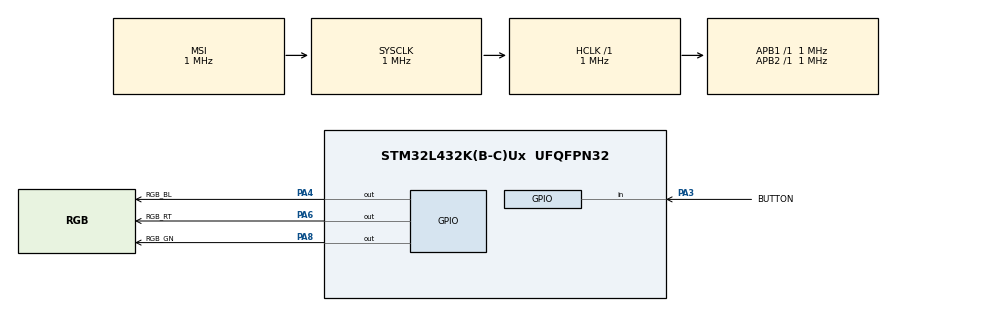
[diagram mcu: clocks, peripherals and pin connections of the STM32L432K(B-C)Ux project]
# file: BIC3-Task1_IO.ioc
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Mcu.Family=STM32L4
Mcu.Name=STM32L432K(B-C)Ux
Mcu.Package=UFQFPN32
NVIC.PriorityGroup=NVIC_PRIORITYGROUP_4
PA3.GPIO_Label=BUTTON
PA3.Signal=GPIO_Input
PA4.GPIO_Label=RGB_BL
PA4.Signal=GPIO_Output
PA6.GPIO_Label=RGB_RT
PA6.Signal=GPIO_Output
PA8.GPIO_Label=RGB_GN
PA8.Signal=GPIO_Output
ProjectManager.HeapSize=0x200
ProjectManager.StackSize=0x400
ProjectManager.TargetToolchain=STM32CubeIDE
RCC.ADCFreq_Value=4000000
RCC.AHBFreq_Value=1000000
RCC.APB1Freq_Value=1000000
RCC.APB1TimFreq_Value=1000000
RCC.APB2Freq_Value=1000000
RCC.APB2TimFreq_Value=1000000
RCC.CortexFreq_Value=1000000
RCC.HCLKFreq_Value=1000000
RCC.HSE_VALUE=8000000
RCC.HSI48_VALUE=48000000
RCC.HSI_VALUE=16000000
RCC.LSE_VALUE=32768
RCC.MSIClockRange=RCC_MSIRANGE_4
RCC.MSI_VALUE=1000000
RCC.SYSCLKFreq_VALUE=1000000
RCC.USBFreq_Value=4000000
RCC.VCOOutputFreq_Value=8000000
board=custom

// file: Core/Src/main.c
/* USER CODE BEGIN Header */
/**
  ******************************************************************************
  * @file           : main.c
  * @brief          : Main program body
  ******************************************************************************
  * @attention
  *
  * <h2><center>&copy; Copyright (c) 2021 STMicroelectronics.
  * All rights reserved.</center></h2>
  *
  * This software component is licensed by ST under BSD 3-Clause license,
  * the "License"; You may not use this file except in compliance with the
  * License. You may obtain a copy of the License at:
  *                        opensource.org/licenses/BSD-3-Clause
  *
  ******************************************************************************
  */
/* USER CODE END Header */
#include "main.h"

void SystemClock_Config(void);
static void MX_GPIO_Init(void);
/* USER CODE BEGIN PFP */
void Set_States(uint8_t * blinky_on, uint8_t * brightness_set, uint8_t * brightness_value, int8_t btn_state, uint8_t brightness_steps);
int8_t Button_Check (GPIO_TypeDef* GPIOx, uint16_t GPIO_Pin, uint16_t boarder_press_time_short_long);
void Blinky(uint16_t on_time, uint16_t off_time, GPIO_TypeDef* GPIO_TypeDef_LED, uint16_t GPIO_Pin_LED, GPIO_TypeDef* GPIO_TypeDef_BUTTON, uint16_t GPIO_Pin_BUTTON, uint8_t brightness_steps);
/* USER CODE END PFP */

int main(void)
{

  /* MCU Configuration--------------------------------------------------------*/

  /* Reset of all peripherals, Initializes the Flash interface and the Systick. */
  HAL_Init();

  /* Configure the system clock */
  SystemClock_Config();

  /* Initialize all configured peripherals */
  MX_GPIO_Init();
  /* USER CODE BEGIN 2 */
  HAL_GPIO_WritePin(RGB_BL_GPIO_Port, RGB_BL_Pin, GPIO_PIN_SET);
  HAL_GPIO_WritePin(RGB_RT_GPIO_Port, RGB_RT_Pin, GPIO_PIN_SET);
  HAL_GPIO_WritePin(RGB_GN_GPIO_Port, RGB_GN_Pin, GPIO_PIN_SET);
  /* USER CODE END 2 */

  /* Infinite loop */
  /* USER CODE BEGIN WHILE */
  while (1)
  {
	// Aufruf Blinky -> mit Blinkintervall (on,off), Input- und Output Pins, sowie die Anzahl der Helligkeitsstufen
	Blinky( 400, 200, RGB_BL_GPIO_Port, RGB_BL_Pin,BUTTON_GPIO_Port, BUTTON_Pin, 3);

    /* USER CODE END WHILE */

  }
}

void SystemClock_Config(void)
{
  RCC_OscInitTypeDef RCC_OscInitStruct = {0};
  RCC_ClkInitTypeDef RCC_ClkInitStruct = {0};

  /** Configure the main internal regulator output voltage
  */
  if (HAL_PWREx_ControlVoltageScaling(PWR_REGULATOR_VOLTAGE_SCALE1) != HAL_OK)
  {
    Error_Handler();
  }
  /** Initializes the RCC Oscillators according to the specified parameters
  * in the RCC_OscInitTypeDef structure.
  */
  RCC_OscInitStruct.OscillatorType = RCC_OSCILLATORTYPE_MSI;
  RCC_OscInitStruct.MSIState = RCC_MSI_ON;
  RCC_OscInitStruct.MSICalibrationValue = 0;
  RCC_OscInitStruct.MSIClockRange = RCC_MSIRANGE_4;
  RCC_OscInitStruct.PLL.PLLState = RCC_PLL_NONE;
  if (HAL_RCC_OscConfig(&RCC_OscInitStruct) != HAL_OK)
  {
    Error_Handler();
  }
  /** Initializes the CPU, AHB and APB buses clocks
  */
  RCC_ClkInitStruct.ClockType = RCC_CLOCKTYPE_HCLK|RCC_CLOCKTYPE_SYSCLK
                              |RCC_CLOCKTYPE_PCLK1|RCC_CLOCKTYPE_PCLK2;
  RCC_ClkInitStruct.SYSCLKSource = RCC_SYSCLKSOURCE_MSI;
  RCC_ClkInitStruct.AHBCLKDivider = RCC_SYSCLK_DIV1;
  RCC_ClkInitStruct.APB1CLKDivider = RCC_HCLK_DIV1;
  RCC_ClkInitStruct.APB2CLKDivider = RCC_HCLK_DIV1;

  if (HAL_RCC_ClockConfig(&RCC_ClkInitStruct, FLASH_LATENCY_0) != HAL_OK)
  {
    Error_Handler();
  }
}

static void MX_GPIO_Init(void)
{
  GPIO_InitTypeDef GPIO_InitStruct = {0};

  /* GPIO Ports Clock Enable */
  __HAL_RCC_GPIOA_CLK_ENABLE();

  /*Configure GPIO pin Output Level */
  HAL_GPIO_WritePin(GPIOA, RGB_BL_Pin|RGB_RT_Pin|RGB_GN_Pin, GPIO_PIN_RESET);

  /*Configure GPIO pin : BUTTON_Pin */
  GPIO_InitStruct.Pin = BUTTON_Pin;
  GPIO_InitStruct.Mode = GPIO_MODE_INPUT;
  GPIO_InitStruct.Pull = GPIO_NOPULL;
  HAL_GPIO_Init(BUTTON_GPIO_Port, &GPIO_InitStruct);

  /*Configure GPIO pins : RGB_BL_Pin RGB_RT_Pin RGB_GN_Pin */
  GPIO_InitStruct.Pin = RGB_BL_Pin|RGB_RT_Pin|RGB_GN_Pin;
  GPIO_InitStruct.Mode = GPIO_MODE_OUTPUT_PP;
  GPIO_InitStruct.Pull = GPIO_NOPULL;
  GPIO_InitStruct.Speed = GPIO_SPEED_FREQ_LOW;
  HAL_GPIO_Init(GPIOA, &GPIO_InitStruct);

}

/* USER CODE BEGIN 4 */

int8_t Button_Check (GPIO_TypeDef* GPIOx, uint16_t GPIO_Pin, uint16_t boarder_press_time_short_long){

	// Zeit wie lange Button gedrückt
	static uint32_t button_pressed_time_start;

	// Status-Variablen-Button
	uint8_t button_state_current;
	static uint8_t button_state_previous;
	static uint8_t button_longpress;
	int8_t button_presskind=0;

	// ermitteln des aktuellen Button-Status
	button_state_current = !HAL_GPIO_ReadPin(GPIOx, GPIO_Pin);

	// wenn Button gedrückt
	if(button_state_current == 1)
	{
		// wenn Button vorher nicht gedrückt war -> Start einer Button-gedrückt-Zeitmessung
		if(!button_state_previous)
		{
			button_pressed_time_start = HAL_GetTick();
			button_state_previous = button_state_current;
		}

		// wenn Button "lange gedrückt" -> Rückgabe "lange gedrückt"
		if(button_state_previous && (HAL_GetTick() - button_pressed_time_start >= boarder_press_time_short_long) && !button_longpress )
		{
			button_presskind=-1;
			button_longpress=1;
		}
	}
	else
	{
		// wenn Button gehalten wird und nicht als "lange gedrückt" erkannt
		if(button_state_previous && !button_longpress)
		{
			// wenn Button "kurz" gedrückt -> Rückgabe "kurz gedrückt"
			if(HAL_GetTick() - button_pressed_time_start < boarder_press_time_short_long )
			{
				button_presskind=1;
			}
		}
		button_longpress=0;
		button_state_previous = button_state_current;
	}

	return button_presskind;
}

void Set_States(uint8_t * blinky_on, uint8_t * brightness_set, uint8_t * brightness_value, int8_t btn_state, uint8_t brightness_steps){

	// wenn Button "kurz gedrückt" -> toggeln der Helligkeits-Variable
	if(btn_state == 1)
	{
		*brightness_set =!(*brightness_set);
		btn_state=0;
	}

	// wenn Button "lange gedrückt" -> toggeln der "Blinken_Ein"-Variable
	if(btn_state == -1)
	{
		*blinky_on =!(*blinky_on);
		btn_state=0;
	}

	// wenn Helligkeits-Variable gesetzt, dann Helligkeitswert erhöhen
	if(*brightness_set)
	{
		if(*brightness_value<100)
		{
			*brightness_value+=((100/brightness_steps)+1);
			if(*brightness_value>100)
			*brightness_value=0;
		}
		else
			*brightness_value=0;

		*brightness_set=0;
	}
}

void Blinky(uint16_t on_time, uint16_t off_time, GPIO_TypeDef* GPIO_TypeDef_LED, uint16_t GPIO_Pin_LED, GPIO_TypeDef* GPIO_TypeDef_BUTTON, uint16_t GPIO_Pin_BUTTON, uint8_t brightness_steps)
{
	// Status-Variablen-Ledsteuerung
	static uint8_t blinky_on;
	static uint8_t brightness_set;
	static uint8_t brightness_value=0;

	// Setzen der Statusvariablen
	Set_States(&blinky_on, &brightness_set, &brightness_value, Button_Check(GPIO_TypeDef_BUTTON, GPIO_Pin_BUTTON, 1000), brightness_steps);

	// wenn Blink-Variable gesetzt
	if(blinky_on)
	{
		// Blinken mit dem eingestellten Intervall
		uint8_t dutycycle = 20;
		for(int i =0 ; i<on_time/dutycycle;i++)
		{
			HAL_GPIO_WritePin(GPIO_TypeDef_LED, GPIO_Pin_LED, GPIO_PIN_RESET);
			HAL_Delay((uint32_t)dutycycle*((float)brightness_value/100));
			HAL_GPIO_WritePin(GPIO_TypeDef_LED, GPIO_Pin_LED, GPIO_PIN_SET);
			HAL_Delay((uint32_t)dutycycle*((100-(float)brightness_value)/100));
			Set_States(&blinky_on, &brightness_set, &brightness_value, Button_Check(GPIO_TypeDef_BUTTON, GPIO_Pin_BUTTON, 1000), brightness_steps);
		}

		HAL_Delay(off_time);
	}
}
/* USER CODE END 4 */

void Error_Handler(void)
{
  __disable_irq();
  while (1)
  {
  }
}

/************************ (C) COPYRIGHT STMicroelectronics *****END OF FILE****/
